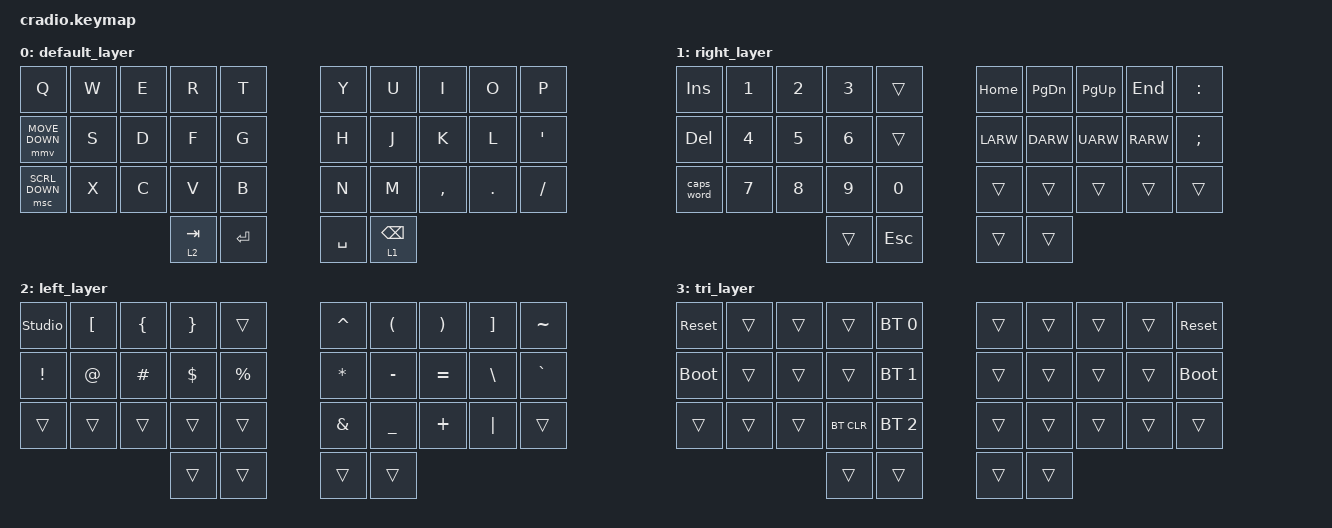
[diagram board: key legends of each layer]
// Copyright (c) 2022 The ZMK Contributors
// SPDX-License-Identifier: MIT

#include <behaviors.dtsi>
#include <dt-bindings/zmk/keys.h>
#include <dt-bindings/zmk/bt.h>
#define ZMK_POINTING_DEFAULT_MOVE_VAL 1500  // default: 600
#define ZMK_POINTING_DEFAULT_SCRL_VAL 20    // default: 10
#include <dt-bindings/zmk/pointing.h>


/ {
    behaviors {
        ht: hold_tap {
            compatible = "zmk,behavior-hold-tap";
            #binding-cells = <2>;
            flavor = "tap-preferred";
            tapping-term-ms = <220>;
            quick-tap-ms = <150>;
            require-prior-idle-ms = <100>;
            bindings = <&kp>, <&kp>;
        };
    };

    conditional_layers {
        compatible = "zmk,conditional-layers";
        tri_layer {
            if-layers = <1 2>;
            then-layer = <3>;
        };
    };

    keymap {
        compatible = "zmk,keymap";
        default_layer {
            bindings = <
        //╭──────────┬──────────┬──────────┬──────────┬──────────╮   ╭──────────┬──────────┬──────────┬──────────┬──────────╮
        //│  Q       │  W       │  E       │  R       │  T       │   │  Y       │  U       │  I       │  O       │  P       │
            &kp Q      &kp W      &kp E      &kp R      &kp T          &kp Y      &kp U      &kp I      &kp O      &kp P
        //├──────────┼──────────┼──────────┼──────────┼──────────┤   ├──────────┼──────────┼──────────┼──────────┼──────────┤
        //│  A       │  S       │  D       │  F       │  G       │   │  H       │  J       │  K       │  L       │ ' "      │
    &mmv MOVE_DOWN      &kp S      &kp D    &kp F       &kp G          &kp H      &kp J      &kp K       &kp L     &kp SQT
        //├──────────┼──────────┼──────────┼──────────┼──────────┤   ├──────────┼──────────┼──────────┼──────────┼──────────┤
        //│  Z       │  X       │  C       │  V       │  B       │   │  N       │  M       │ , <      │ . >      │ / ?      │
    &msc SCRL_DOWN     &kp X      &kp C      &kp V      &kp B          &kp N      &kp M      &kp COMMA  &kp DOT    &kp FSLH
        //╰──────────┴──────────┴──────────┼──────────┼──────────┤   ├──────────┼──────────┼──────────┴──────────┴──────────╯
                                            &lt 2 TAB   &kp ENTER     &kp SPACE  &lt 1 BSPC
        //                                 ╰──────────┴──────────╯   ╰──────────┴──────────╯
            >;
        };

        right_layer {
            bindings = <
        //╭──────────┬──────────┬──────────┬──────────┬──────────╮   ╭──────────┬──────────┬──────────┬──────────┬──────────╮
        //│ INSERT   │  1       │  2       │  3       │          │   │ HOME     │ PAGE DN  │ PAGE UP  │ END      │  :       │
            &kp INS    &kp N1     &kp N2     &kp N3     &trans         &kp HOME   &kp PG_DN  &kp PG_UP  &kp END    &kp COLON
        //├──────────┼──────────┼──────────┼──────────┼──────────┤   ├──────────┼──────────┼──────────┼──────────┼──────────┤
        //│ DELETE   │  4       │  5       │  6       │          │   │ LEFT     │ DOWN     │ UP       │ RIGHT    │  ;       │
            &kp DEL    &kp N4     &kp N5     &kp N6     &trans         &kp LARW   &kp DARW   &kp UARW   &kp RARW   &kp SEMI
        //├──────────┼──────────┼──────────┼──────────┼──────────┤   ├──────────┼──────────┼──────────┼──────────┼──────────┤
        //│ CAPS     │  7       │  8       │  9       │  0       │   │          │          │          │          │          │
           &caps_word  &kp N7     &kp N8     &kp N9     &kp N0         &trans     &trans     &trans     &trans     &trans
        //╰──────────┴──────────┴──────────┼──────────┼──────────┤   ├──────────┼──────────┼──────────┴──────────┴──────────╯
                                             &trans     &kp ESC        &trans     &trans
        //                                 ╰──────────┴──────────╯   ╰──────────┴──────────╯
            >;
        };

        left_layer {
            bindings = <
        //╭──────────┬──────────┬──────────┬──────────┬──────────╮   ╭──────────┬──────────┬──────────┬──────────┬──────────╮
        //│          │  [       │  {       │  }       │          │   │  ^       │  (       │  )       │  ]       │  ~       │
            &studio_unlock     &kp LBKT   &kp LBRC   &kp RBRC   &trans         &kp CARET  &kp LPAR   &kp RPAR   &kp RBKT   &kp TILDE
        //├──────────┼──────────┼──────────┼──────────┼──────────┤   ├──────────┼──────────┼──────────┼──────────┼──────────┤
        //│  !       │  @       │  #       │  $       │  %       │   │  *       │  -       │  =       │  \       │  `       │
            &kp EXCL   &kp AT     &kp HASH   &kp DLLR   &kp PRCNT      &kp ASTRK  &kp MINUS  &kp EQUAL  &kp BSLH   &kp GRAVE
        //├──────────┼──────────┼──────────┼──────────┼──────────┤   ├──────────┼──────────┼──────────┼──────────┼──────────┤
        //│          │          │          │          │          │   │  &       │  _       │  +       │  │       │          │
            &trans     &trans     &trans     &trans     &trans         &kp AMPS   &kp UNDER  &kp PLUS   &kp PIPE   &trans
        //╰──────────┴──────────┴──────────┼──────────┼──────────┤   ├──────────┼──────────┼──────────┴──────────┴──────────╯
                                             &trans     &trans         &trans     &trans
        //                                 ╰──────────┴──────────╯   ╰──────────┴──────────╯
            >;
        };

        tri_layer {
            bindings = <
        //╭──────────┬──────────┬──────────┬──────────┬──────────╮   ╭──────────┬──────────┬──────────┬──────────┬──────────╮
        //│ RESET    │          │          │          │PROFILE 0 │   │          │          │          │          │  RESET   │
           &sys_reset  &trans     &trans     &trans    &bt BT_SEL 0    &trans     &trans     &trans     &trans    &sys_reset
        //├──────────┼──────────┼──────────┼──────────┼──────────┤   ├──────────┼──────────┼──────────┼──────────┼──────────┤
        //│BOOTLOADER│          │          │          │PROFILE 1 │   │          │          │          │          │BOOTLOADER│
          &bootloader  &trans     &trans     &trans    &bt BT_SEL 1    &trans     &trans     &trans     &trans    &bootloader
        //├──────────┼──────────┼──────────┼──────────┼──────────┤   ├──────────┼──────────┼──────────┼──────────┼──────────┤
        //│          │          │          │ CLEAR BT │PROFILE 2 │   │          │          │          │          │          │
            &trans     &trans     &trans    &bt BT_CLR &bt BT_SEL 2    &trans     &trans     &trans     &trans     &trans
        //╰──────────┴──────────┴──────────┼──────────┼──────────┤   ├──────────┼──────────┼──────────┴──────────┴──────────╯
                                             &trans     &trans         &trans     &trans
        //                                 ╰──────────┴──────────╯   ╰──────────┴──────────╯
            >;
        };
    };
};
